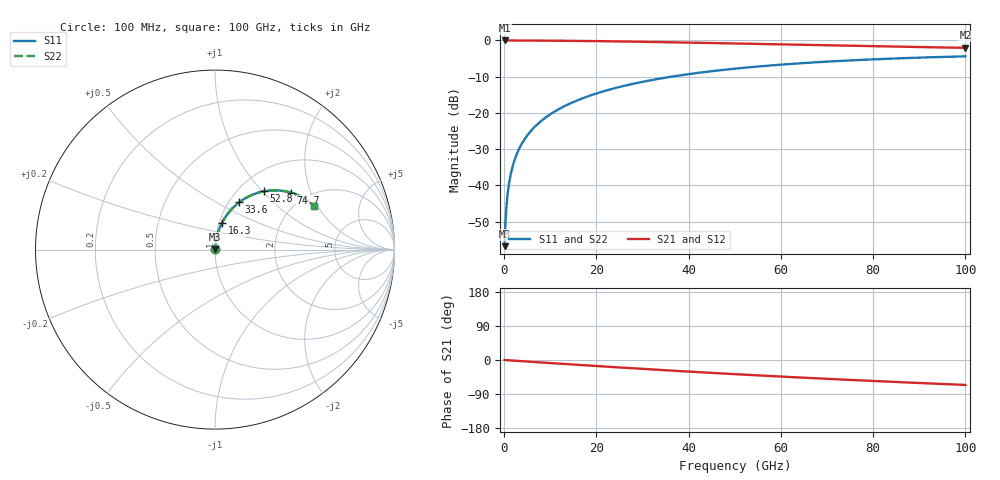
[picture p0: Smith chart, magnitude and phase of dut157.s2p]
! Touchstone file exported from HFSS 2026.1.0
!  File:  C:/ffzhzh/LocalFiles/Ansys_Project_Files/temp_train_RDL_157_1783500016_55944.aedt
!  Generated:  04:41:20 PM Jul  8, 2026
!  Design:  RDL
!  Project:  temp_train_RDL_157_1783500016_55944
! Variables:
!  h_bsmrdl = 2um
!  h_ox = 20um
!  h_rdl = 5um
!  h_sub = 80um
!  h_tmrdl = 4.66um
!  h_tsv = 80um
!  h_via = 3um
!  l_bsmrdl = 300um
!  l_sub = 577.06um
!  l_tmrdl = 177.06um
!  m_sub = 200um
!  pitch = 48.56um
!  r_tsv = 6um
!  s_tmrdl = 10um
!  w_bsmrdl = 18um
!  w_sub = 500um
!  w_tmrdl = 15.27um
!  x_tsv_center1 = 184.695um
!  x_tsv_center2 = 502.695um
!  x_tsv_center3 = 695.025um
!  x_tsv_center4 = 1013.025um
!  x_tsv_center5 = 1205.355um
!  x_tsv_center6 = 1523.355um
# GHz S MA R 50.000000
! Terminal data exported
! Port[1] = TM_RDL1_1_T1
! Port[2] = TM_RDL1_1_T2
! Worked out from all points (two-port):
!   1000 points, 100 MHz to 100 GHz, reference 50 ohm
!   highest |S21| = -0.01 dB at 100 MHz (marker M1); lowest = -2.0 dB at 100 GHz (marker M2)
!   |S21| within 3 dB of the highest: start of sweep to end of sweep
!   lowest |S11| = -56.8 dB at 100 MHz (marker M3), VSWR 1.00, Z = 50.1 + j0.103 ohm
!   |S11| at or under -10 dB: start of sweep to 36.32 GHz
!   |S22| runs from -56.8 to -4.4 dB; largest |S21 - S12| = 4.5e-15
!   S11 on the Smith chart (normalised r, x): 100 MHz: 1.00, +0.00; 16.3 GHz: 1.03, +0.31; 33.6 GHz: 1.12, +0.64; 52.8 GHz: 1.29, +1.02; 74.7 GHz: 1.66, +1.46; 100 GHz: 2.46, +1.87
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0.1  0.001446 45.6  0.999 -0.1  0.999 -0.1  0.001446 45.6
! Gamma 0 0 0 0
! Port Impedance 50 0 50 0
0.4  0.004186 74.4  0.9989 -0.3  0.9989 -0.3  0.004186 74.4
0.8  0.008051 80.9  0.9988 -0.7  0.9988 -0.7  0.008051 80.9
1.1  0.01098 82.7  0.9987 -0.9  0.9987 -0.9  0.01098 82.7
1.4  0.01391 83.6  0.9986 -1.2  0.9986 -1.2  0.01391 83.6
1.9  0.0188 84.3  0.9985 -1.6  0.9985 -1.6  0.0188 84.3
2.4  0.02368 84.5  0.9983 -2.0  0.9983 -2.0  0.02368 84.5
3.8  0.03724 84.1  0.9975 -3.1  0.9975 -3.1  0.03724 84.1
5.9  0.05729 82.9  0.996 -4.8  0.996 -4.8  0.05729 82.9
8.6  0.08262 81.0  0.9937 -7.0  0.9937 -7.0  0.08262 81.0
12  0.114 78.6  0.99 -9.7  0.99 -9.7  0.114 78.6
16.3  0.1528 75.4  0.9841 -13.0  0.9841 -13.0  0.1528 75.4
16.8  0.1572 75.1  0.9834 -13.4  0.9834 -13.4  0.1572 75.1
24.2  0.221 69.6  0.9703 -19.1  0.9703 -19.1  0.221 69.6
33.4  0.2944 63.0  0.95 -25.9  0.95 -25.9  0.2944 63.0
33.6  0.296 62.9  0.9495 -26.0  0.9495 -26.0  0.296 62.9
50.1  0.4081 51.7  0.9065 -37.4  0.9065 -37.4  0.4081 51.7
52.8  0.424 50.0  0.8992 -39.2  0.8992 -39.2  0.424 50.0
66.7  0.4953 41.5  0.862 -47.8  0.862 -47.8  0.4953 41.5
74.7  0.5287 36.9  0.842 -52.4  0.842 -52.4  0.5287 36.9
83.4  0.5593 32.2  0.8221 -57.2  0.8221 -57.2  0.5594 32.1
100  0.6031 23.6  0.7908 -65.8  0.7908 -65.8  0.6031 23.6
